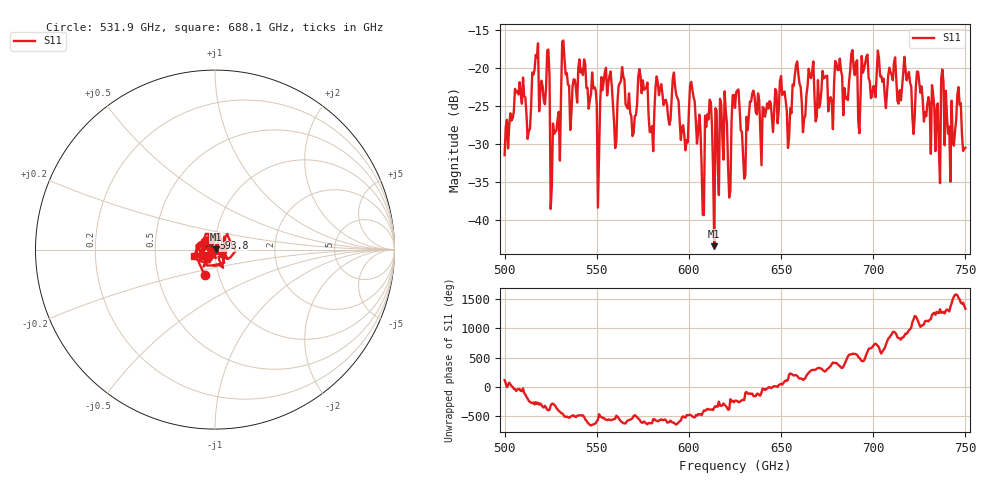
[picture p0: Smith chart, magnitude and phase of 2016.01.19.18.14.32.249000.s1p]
!Created with skrf (http://scikit-rf.org).
# GHz S RI R 50.0
!freq ReS11 ImS11
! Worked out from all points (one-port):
!   401 points, 500 GHz to 750 GHz, reference 50 ohm
!   lowest |S11| = -43.5 dB at 613.8 GHz (marker M1), VSWR 1.01, Z = 50.7 + j0.124 ohm
!   |S11| at or under -10 dB: start of sweep to end of sweep
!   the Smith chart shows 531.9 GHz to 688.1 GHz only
!   S11 on the Smith chart (normalised r, x): 531.9 GHz: 0.86, -0.25; 593.8 GHz: 0.98, +0.12; 688.1 GHz: 0.79, -0.06
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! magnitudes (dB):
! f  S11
! 500 GHz  -31.5
! 506.9 GHz  -23.1
! 513.1 GHz  -28.3
! 516.9 GHz  -18.3
! 523.1 GHz  -17.7
! 526.2 GHz  -27.3
! 531.2 GHz  -16.5
! 531.9 GHz  -16.3
! 550.6 GHz  -38.4
! 553.8 GHz  -21.7
! 560 GHz  -30.5
! 562.5 GHz  -22.0
! 579.4 GHz  -28.4
! 583.1 GHz  -21.9
! 593.8 GHz  -23.9
! 613.8 GHz  -43.5
! 618.1 GHz  -29.1
! 621.9 GHz  -37.1
! 625 GHz  -25.2
! 629.4 GHz  -31.5
! 634.4 GHz  -23.3
! 656.2 GHz  -22.2
! 687.5 GHz  -20.3
! 688.1 GHz  -18.1
! 718.8 GHz  -21.1
! 735 GHz  -24.7
! 746.2 GHz  -22.5
! 750 GHz  -30.5
